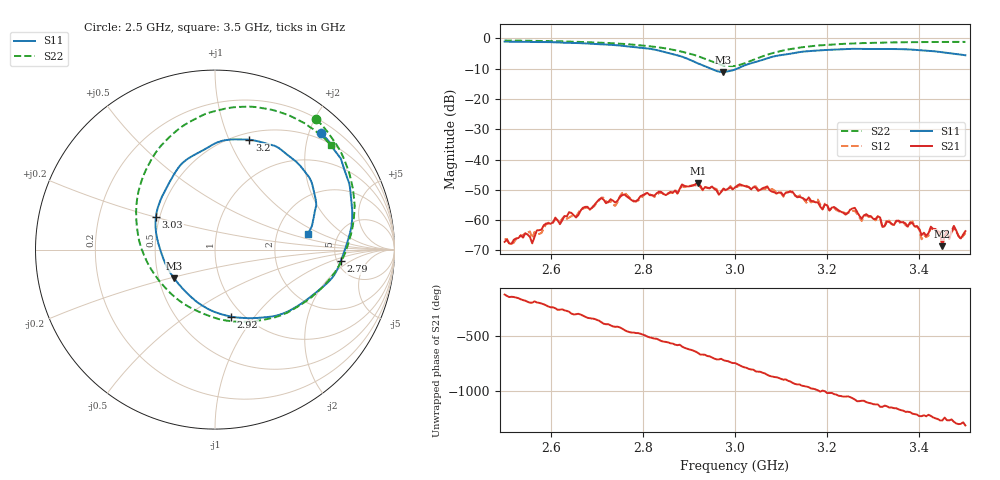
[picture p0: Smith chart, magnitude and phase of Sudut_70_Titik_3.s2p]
# Hz S RI R 50
! CMT, C1220, 16058040, 17.2.0/1
! Date: 15/08/2018 10:40:24
! Data: Format (Calibration Info)
! Freq  S11: Re/Im (F2)  S21: Re/Im (F2)  S12: Re/Im (F2)  S22: Re/Im (F2)
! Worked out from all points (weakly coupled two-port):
!   201 points, 2.5 GHz to 3.5 GHz, reference 50 ohm
!   highest |S21| = -47.71 dB at 2.92 GHz (marker M1); lowest = -68.6 dB at 3.45 GHz (marker M2)
!   lowest |S11| = -11.1 dB at 2.975 GHz (marker M3), VSWR 1.77, Z = 30.1 - j10.4 ohm
!   |S11| at or under -10 dB: 2.947 GHz to 3.005 GHz (58.14 MHz wide, 1.95 % of centre)
!   |S22| runs from -9.2 to -0.7 dB; largest |S21 - S12| = 0.00032
!   S11 on the Smith chart (normalised r, x): 2.5 GHz: 0.39, +2.21; 2.79 GHz: 5.42, -1.35; 2.92 GHz: 0.88, -0.77; 3.03 GHz: 0.48, +0.20; 3.2 GHz: 0.57, +1.19; 3.5 GHz: 3.01, +0.71
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2.5e9  0.5933 0.6489  -0.000198 -0.000391  -0.000214 -0.000428  0.5642 0.7251
2.56e9  0.6599 0.5616  -0.000407 8.23e-05  -0.000487 0.000132  0.6317 0.6493
2.59e9  0.6982 0.511  -0.000714 0.000513  -0.00072 0.000466  0.663 0.6052
2.67e9  0.7526 0.34  0.00105 0.00121  0.00109 0.00108  0.739 0.4519
2.74e9  0.7595 0.1266  0.00118 -0.00156  0.00115 -0.00129  0.7759 0.2719
2.76e9  0.7414 0.0547  0.000338 -0.00263  0.000459 -0.00287  0.7763 0.2091
2.79e9  0.7015 -0.0626  -0.000789 -0.00206  -0.00084 -0.00193  0.7625 0.1059
2.835e9  0.5851 -0.221  -0.00293 -0.000351  -0.00278 -0.000411  0.7036 -0.0661
2.92e9  0.0887 -0.3735  0.00167 0.00376  0.00152 0.0036  0.335 -0.3769
2.975e9  -0.228 -0.1593  0.00333 5.94e-05  0.00324 8.39e-05  -0.0999 -0.3417
3e9  -0.3047 -0.00245  0.00312 -0.00152  0.00306 -0.00164  -0.2777 -0.2119
3.03e9  -0.329 0.1833  0.000624 -0.00345  0.000671 -0.00345  -0.4113 0.00917
3.17e9  0.0923 0.6133  -0.000293 0.00201  -0.000433 0.00201  -0.0875 0.7398
3.2e9  0.1915 0.6122  0.000918 0.0015  0.000977 0.00147  0.0217 0.7767
3.335e9  0.4922 0.4453  0.000245 -0.000893  0.000198 -0.00095  0.3932 0.7552
3.385e9  0.5449 0.3513  -0.00058 -0.000681  -0.000598 -0.00074  0.4891 0.7101
3.405e9  0.5562 0.3005  -0.000508 -0.000253  -0.000454 -0.000166  0.5203 0.6884
3.425e9  0.5639 0.2535  -0.000686 -0.000373  -0.000667 -0.00036  0.5504 0.6684
3.445e9  0.5557 0.211  -0.000624 0.000137  -0.000553 9.74e-05  0.5796 0.6448
3.45e9  0.5538 0.1983  -0.000363 8.26e-05  -0.000365 0.000115  0.5867 0.6397
3.475e9  0.5404 0.1335  -0.000725 0.000346  -0.000662 0.000282  0.6171 0.6121
3.5e9  0.5163 0.0856  -0.000341 0.000563  -0.000265 0.000547  0.6461 0.5824
